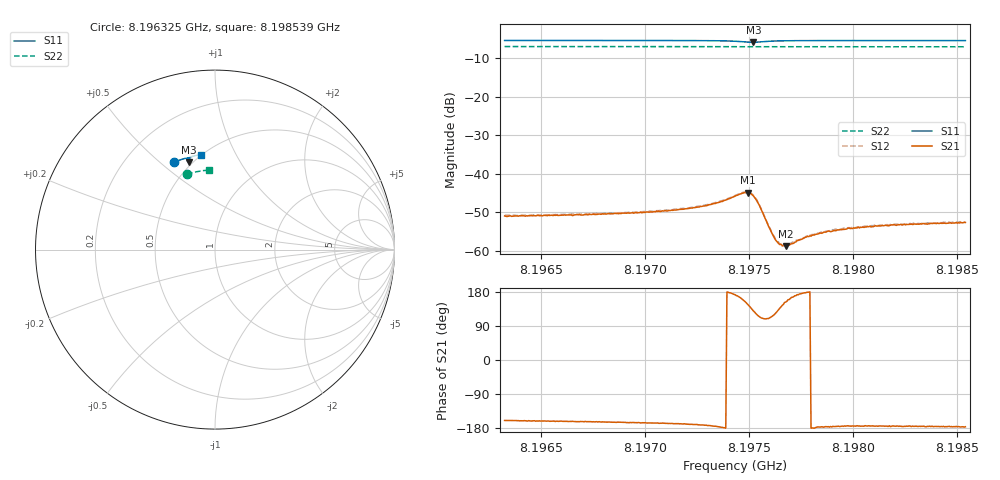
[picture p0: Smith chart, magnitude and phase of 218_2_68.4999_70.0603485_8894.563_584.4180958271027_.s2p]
#  HZ  S  RI  R  50.00
! Rohde & Schwarz Vector Network Analyzer
! Rohde-Schwarz,ZNB20-2Port,1311601062101988,3.16
! Created: UTC 3/20/2024, 5:13:26 PM
! freq[Hz]  re:S11  im:S11  re:S21  im:S21  re:S12  im:S12  re:S22  im:S22
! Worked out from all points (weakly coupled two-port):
!   401 points, 8.196325 GHz to 8.198539 GHz, reference 50 ohm
!   highest |S21| = -44.93 dB at 8.197493 GHz (marker M1); lowest = -58.9 dB at 8.197676 GHz (marker M2)
!   lowest |S11| = -5.9 dB at 8.197521 GHz (marker M3), VSWR 3.06, Z = 24 + j31.5 ohm
!   |S11| at or under -10 dB: nowhere
!   |S22| runs from -7.1 to -7.0 dB; largest |S21 - S12| = 0.00031
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8.1963246e9  -0.2268 0.4864  -0.00264 -0.000982  -0.00271 -0.000871  -0.155 0.4198
8.1966956e9  -0.2018 0.4969  -0.00276 -0.00087  -0.00289 -0.000765  -0.1351 0.4259
8.1970666e9  -0.1753 0.5059  -0.00315 -0.000713  -0.00324 -0.000621  -0.1148 0.4312
8.1971995e9  -0.1648 0.5086  -0.00344 -0.000655  -0.00353 -0.000548  -0.1075 0.4328
8.1972881e9  -0.1567 0.51  -0.00377 -0.000514  -0.00388 -0.000382  -0.1026 0.4339
8.19736e9  -0.1489 0.5098  -0.00426 -0.000236  -0.00438 -6.13e-05  -0.0985 0.4345
8.197432e9  -0.139 0.5057  -0.00503 0.000668  -0.00511 0.000908  -0.0944 0.4352
8.1974653e9  -0.1353 0.4998  -0.00523 0.00179  -0.00525 0.00203  -0.0925 0.4354
8.1974929e9  -0.136 0.4922  -0.00476 0.00307  -0.00471 0.00329  -0.0911 0.4354
8.1975206e9  -0.1432 0.487  -0.00325 0.00395  -0.00317 0.00415  -0.0898 0.4355
8.1975483e9  -0.1518 0.4897  -0.00163 0.00355  -0.00154 0.00366  -0.0886 0.4361
8.1976037e9  -0.1542 0.5023  -0.0007 0.00168  -0.000637 0.00175  -0.0854 0.4368
8.1976258e9  -0.1524 0.5058  -0.000746 0.00117  -0.000717 0.00123  -0.0842 0.437
8.197648e9  -0.1504 0.5083  -0.000873 0.000811  -0.000837 0.000868  -0.0829 0.4373
8.1976757e9  -0.1475 0.5107  -0.00101 0.000519  -0.00101 0.000574  -0.0814 0.4378
8.1976978e9  -0.1453 0.5122  -0.00115 0.000368  -0.00116 0.000459  -0.0802 0.4378
8.1977698e9  -0.1385 0.5157  -0.00148 7.25e-05  -0.00149 0.000111  -0.0761 0.4386
8.197803e9  -0.1357 0.5167  -0.00158 -2.03e-05  -0.00162 3.99e-05  -0.0742 0.4389
8.1978695e9  -0.1302 0.5186  -0.00173 -0.000129  -0.00178 -4.41e-05  -0.0705 0.4393
8.1979691e9  -0.1224 0.5207  -0.0019 -0.000203  -0.00195 -0.000129  -0.0649 0.4399
8.198174e9  -0.107 0.5242  -0.00209 -0.000236  -0.00216 -0.00013  -0.0533 0.4412
8.1985395e9  -0.0805 0.5285  -0.00231 -0.000152  -0.00234 -4.53e-05  -0.0326 0.4424
